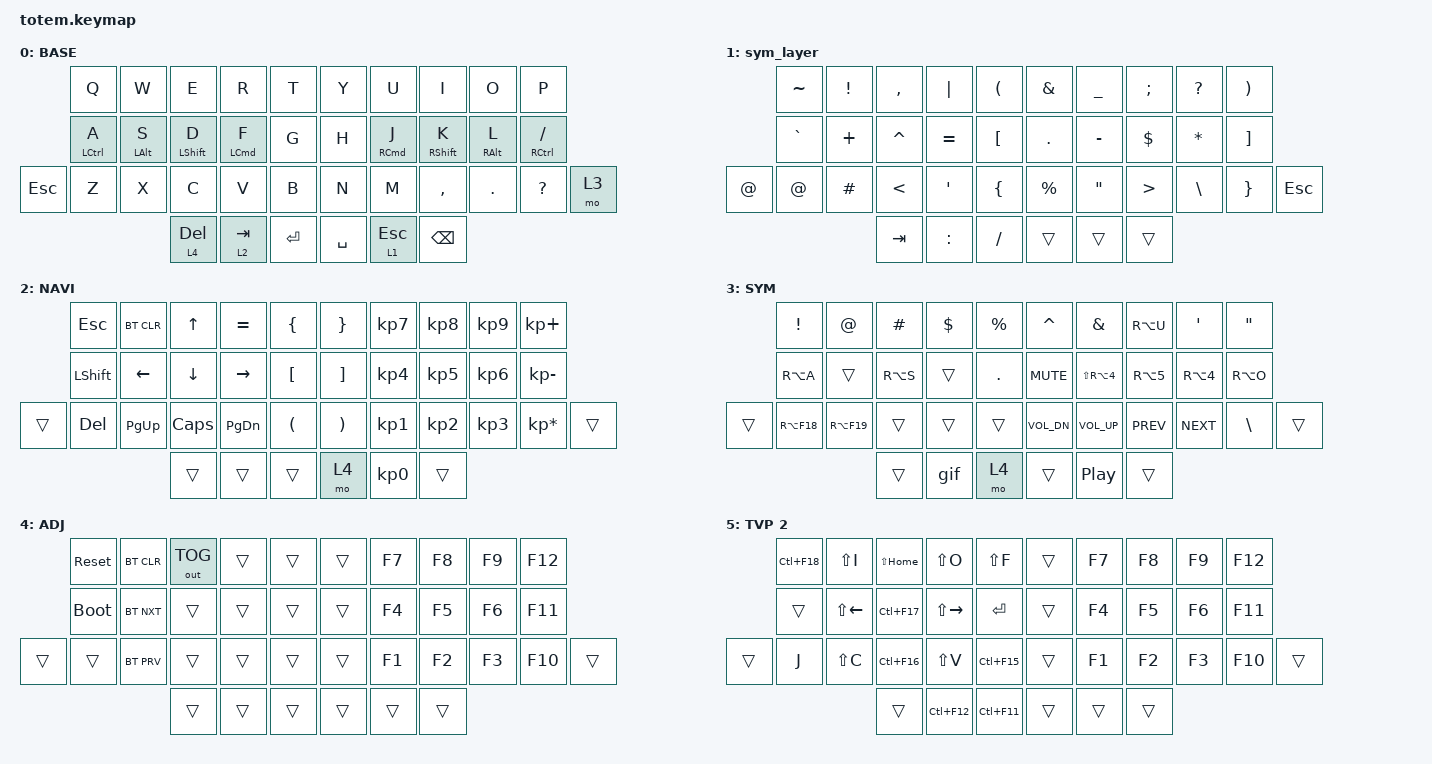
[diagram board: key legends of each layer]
//
//                                                        ▀▀▀▀▀     ▀▀▀▀▀          ▀▀█▀▀
//                                                        ▄▀▀▀▄  ▄  ▄▀▀▀▄  ▄  ▄▀▀▀▄  █  ▄▀▀▀▄
//                                                        █   █  █  █   █  █  █   █  █  █   █
//                                                         ▀▀▀   █   ▀▀▀   █   ▀▀▀   ▀   ▀▀▀
//                                                               █      ▄▄▄█▄▄▄    █   █  
//                                                               ▀      █  █  █     █▄█
//                                                             ▀▀▀▀▀    █  █  █      ▀
//                                                                      ▀  ▀  ▀
//
// ▄▄▄▄▄▄▄▄▄▄▄▄▄▄▄▄▄▄▄▄▄▄▄▄▄▄▄▄▄▄▄▄▄▄▄▄▄▄▄▄▄▄▄▄▄▄▄▄▄▄▄▄▄▄▄▄▄▄▄▄▄▄▄▄▄▄▄▄▄▄▄▄▄▄▄▄▄▄▄▄▄▄▄▄▄▄▄▄▄▄▄▄▄▄▄▄▄▄▄▄▄▄▄▄▄▄▄▄▄▄▄▄▄▄▄▄▄▄▄▄▄▄▄▄▄▄▄▄▄▄▄▄▄▄▄▄▄▄▄▄▄▄▄▄▄▄▄▄▄

#include <behaviors.dtsi>
#include <dt-bindings/zmk/bt.h>
#include <dt-bindings/zmk/keys.h>
#include <dt-bindings/zmk/outputs.h>

#define BASE 0
#define NAV  1
#define SYM  2
#define ADJ  3
#define TVP1 4
#define TVP2 5

&mt {
    quick-tap-ms = <100>;
    global-quick-tap;
    flavor = "tap-preferred";
    tapping-term-ms = <170>;
};

/ {
    combos {
        compatible = "zmk,combos";

        combo_esc {
            timeout-ms = <50>;
            key-positions = <0 1>;
            bindings = <&kp ESC>;
        };

        combo_tvp {
            timeout-ms = <100>;
            key-positions = <11 12 13>;
            bindings = <&tog 0>;
        };
    };

    macros {
        gif: gif {
            label = "giphy";
            compatible = "zmk,behavior-macro";
            #binding-cells = <0>;
            bindings =
                <&macro_press>,
                <&kp LSHFT>,
                <&macro_tap>,
                <&kp N2>,
                <&macro_release>,
                <&kp LSHFT>,
                <&macro_tap>,
                <&kp G &kp I &kp F>;
        };
    };

    keymap {
        compatible = "zmk,keymap";

        // ▄▄▄▄▄▄▄▄▄▄▄▄▄▄▄▄▄▄▄▄▄▄▄▄▄▄▄▄▄▄▄▄▄▄▄▄▄▄▄▄▄▄▄▄▄▄▄▄▄▄▄▄▄▄▄▄▄▄▄▄▄▄▄▄▄▄▄▄▄▄▄▄▄▄▄▄▄▄▄▄▄▄▄▄▄▄▄▄▄▄▄▄▄▄▄▄▄▄▄▄▄▄▄▄▄▄▄▄▄▄▄▄▄▄▄▄▄▄▄▄▄▄▄▄▄▄▄▄▄▄▄▄▄▄▄▄▄▄▄▄▄▄▄▄▄▄▄▄▄

        base_layer {
            // ┏━━━━━━━━━━━━━━━━━━━━━━━━━━━━━━━━━━━━━━━┓

            label = "BASE";

            // ┗━━━━━━━━━━━━━━━━━━━━━━━━━━━━━━━━━━━━━━━┛
            //             ┏━━━━━━━━━━━┳━━━━━━━━━━━┳━━━━━━━━━━━┳━━━━━━━━━━━┳━━━━━━━━━━━┓   ┏━━━━━━━━━━━┳━━━━━━━━━━━┳━━━━━━━━━━━┳━━━━━━━━━━━┳━━━━━━━━━━━┓
            //             ┃     Q     ┃     W     ┃     F     ┃     P     ┃     G     ┃   ┃     J     ┃     L     ┃     U     ┃     Y     ┃     ;     ┃
            //             ┣━━━━━━━━━━━╋━━━━━━━━━━━╋━━━━━━━━━━━╋━━━━━━━━━━━╋━━━━━━━━━━━┫   ┣━━━━━━━━━━━╋━━━━━━━━━━━╋━━━━━━━━━━━╋━━━━━━━━━━━╋━━━━━━━━━━━┫
            //             ┃     A     ┃     R     ┃     S     ┃     T     ┃     D     ┃   ┃     H     ┃     N     ┃     E     ┃     I     ┃     O     ┃
            // ┏━━━━━━━━━━━╋━━━━━━━━━━━╋━━━━━━━━━━━╋━━━━━━━━━━━╋━━━━━━━━━━━╋━━━━━━━━━━━┫   ┣━━━━━━━━━━━╋━━━━━━━━━━━╋━━━━━━━━━━━╋━━━━━━━━━━━╋━━━━━━━━━━━╋━━━━━━━━━━━┓
            // ┃     Q     ┃     Z     ┃     X     ┃     C     ┃     V     ┃     B     ┃   ┃     K     ┃     M     ┃     ,     ┃     .     ┃     /     ┃     \     ┃
            // ┗━━━━━━━━━━━┻━━━━━━━━━━━┻━━━━━━━━━━━╋━━━━━━━━━━━╋━━━━━━━━━━━╋━━━━━━━━━━━┫   ┣━━━━━━━━━━━╋━━━━━━━━━━━╋━━━━━━━━━━━╋━━━━━━━━━━━┻━━━━━━━━━━━┻━━━━━━━━━━━┛
            //                                     ┃    DEL    ┃    TAB    ┃    SPC    ┃   ┃   ENTER   ┃           ┃   BSPC    ┃
            //                                     ┗━━━━━━━━━━━┻━━━━━━━━━━━┻━━━━━━━━━━━┛   ┗━━━━━━━━━━━┻━━━━━━━━━━━┻━━━━━━━━━━━┛

            bindings = <
         &kp Q        &kp W       &kp E             &kp R       &kp T        &kp Y      &kp U       &kp I              &kp O            &kp P
         &mt LCTRL A  &mt LALT S  &mt LEFT_SHIFT D  &mt LCMD F  &kp G        &kp H      &mt RCMD J  &mt RIGHT_SHIFT K  &mt RIGHT_ALT L  &mt RCTRL SLASH
&kp ESC  &kp Z        &kp X       &kp C             &kp V       &kp B        &kp N      &kp M       &kp COMMA          &kp DOT          &kp QUESTION     &mo 3
                                  &lt 4 DELETE      &lt 2 TAB   &kp ENTER    &kp SPACE  &lt 1 ESC   &kp BACKSPACE
            >;
        };

        sym_layer {
            bindings = <
             &kp TILDE    &kp EXCLAMATION  &kp COMMA      &kp PIPE   &kp LEFT_PARENTHESIS    &kp AMPS     &kp UNDERSCORE     &kp SEMICOLON     &kp QUESTION   &kp RIGHT_PARENTHESIS
             &kp GRAVE    &kp PLUS         &kp CARET      &kp EQUAL  &kp LEFT_BRACKET        &kp DOT      &kp MINUS          &kp DOLLAR        &kp ASTERISK   &kp RIGHT_BRACKET
&kp AT_SIGN  &kp AT_SIGN  &kp HASH         &kp LESS_THAN  &kp SQT    &kp LEFT_BRACE          &kp PERCENT  &kp DOUBLE_QUOTES  &kp GREATER_THAN  &kp BACKSLASH  &kp RIGHT_BRACE        &kp ESCAPE
                                           &kp TAB        &kp COLON  &kp SLASH               &trans       &trans             &trans
            >;
        };

        nav_layer {
            // ┏━━━━━━━━━━━━━━━━━━━━━━━━━━━━━━━━━━━━━━━┓

            label = "NAVI";

            // ┗━━━━━━━━━━━━━━━━━━━━━━━━━━━━━━━━━━━━━━━┛
            //             ┏━━━━━━━━━━━┳━━━━━━━━━━━┳━━━━━━━━━━━┳━━━━━━━━━━━┳━━━━━━━━━━━┓   ┏━━━━━━━━━━━┳━━━━━━━━━━━┳━━━━━━━━━━━┳━━━━━━━━━━━┳━━━━━━━━━━━┓
            //             ┃           ┃           ┃     UP    ┃           ┃     {     ┃   ┃     }     ┃     7     ┃     8     ┃     9     ┃     +     ┃
            //             ┣━━━━━━━━━━━╋━━━━━━━━━━━╋━━━━━━━━━━━╋━━━━━━━━━━━╋━━━━━━━━━━━┫   ┣━━━━━━━━━━━╋━━━━━━━━━━━╋━━━━━━━━━━━╋━━━━━━━━━━━╋━━━━━━━━━━━┫
            //             ┃   SHIFT   ┃   LEFT    ┃    DOWN   ┃   RIGHT   ┃     [     ┃   ┃     ]     ┃     4     ┃     5     ┃     6     ┃     -     ┃
            // ┏━━━━━━━━━━━╋━━━━━━━━━━━╋━━━━━━━━━━━╋━━━━━━━━━━━╋━━━━━━━━━━━╋━━━━━━━━━━━┫   ┣━━━━━━━━━━━╋━━━━━━━━━━━╋━━━━━━━━━━━╋━━━━━━━━━━━╋━━━━━━━━━━━╋━━━━━━━━━━━┓
            // ┃           ┃           ┃   P UP    ┃  C LOCK   ┃  P DOWN   ┃     (     ┃   ┃     )     ┃     1     ┃     2     ┃     3     ┃     *     ┃           ┃
            // ┗━━━━━━━━━━━┻━━━━━━━━━━━┻━━━━━━━━━━━╋━━━━━━━━━━━╋━━━━━━━━━━━╋━━━━━━━━━━━┫   ┣━━━━━━━━━━━╋━━━━━━━━━━━╋━━━━━━━━━━━╋━━━━━━━━━━━┻━━━━━━━━━━━┻━━━━━━━━━━━┛
            //                                     ┃           ┃    TAB    ┃    SPC    ┃   ┃    DEL    ┃     0     ┃           ┃
            //                                     ┗━━━━━━━━━━━┻━━━━━━━━━━━┻━━━━━━━━━━━┛   ┗━━━━━━━━━━━┻━━━━━━━━━━━┻━━━━━━━━━━━┛

            bindings = <
        &kp ESC    &bt BT_CLR  &kp UP    &kp EQUAL  &kp LBRC    &kp RBRC  &kp KP_N7  &kp KP_N8  &kp KP_N9  &kp KP_PLUS
        &kp LSHFT  &kp LEFT    &kp DOWN  &kp RIGHT  &kp LBKT    &kp RBKT  &kp KP_N4  &kp KP_N5  &kp KP_N6  &kp KP_MINUS
&trans  &kp DEL    &kp PG_UP   &kp CAPS  &kp PG_DN  &kp LPAR    &kp RPAR  &kp KP_N1  &kp KP_N2  &kp KP_N3  &kp KP_MULTIPLY  &trans
                               &trans    &trans     &trans      &mo 4     &kp KP_N0  &trans
            >;
        };

        fun_layer {
            // ┏━━━━━━━━━━━━━━━━━━━━━━━━━━━━━━━━━━━━━━━┓

            label = "SYM";

            // ┗━━━━━━━━━━━━━━━━━━━━━━━━━━━━━━━━━━━━━━━┛
            //             ┏━━━━━━━━━━━┳━━━━━━━━━━━┳━━━━━━━━━━━┳━━━━━━━━━━━┳━━━━━━━━━━━┓   ┏━━━━━━━━━━━┳━━━━━━━━━━━┳━━━━━━━━━━━┳━━━━━━━━━━━┳━━━━━━━━━━━┓
            //             ┃     !     ┃     @     ┃     #     ┃     $     ┃     %     ┃   ┃     ˆ     ┃     &     ┃     Ü     ┃     '     ┃     "     ┃
            //             ┣━━━━━━━━━━━╋━━━━━━━━━━━╋━━━━━━━━━━━╋━━━━━━━━━━━╋━━━━━━━━━━━┫   ┣━━━━━━━━━━━╋━━━━━━━━━━━╋━━━━━━━━━━━╋━━━━━━━━━━━╋━━━━━━━━━━━┫
            //             ┃     Ä     ┃           ┃    SZ     ┃           ┃           ┃   ┃   MUTE    ┃   YEN     ┃   EURO    ┃  POUND    ┃     Ö     ┃
            // ┏━━━━━━━━━━━╋━━━━━━━━━━━╋━━━━━━━━━━━╋━━━━━━━━━━━╋━━━━━━━━━━━╋━━━━━━━━━━━┫   ┣━━━━━━━━━━━╋━━━━━━━━━━━╋━━━━━━━━━━━╋━━━━━━━━━━━╋━━━━━━━━━━━╋━━━━━━━━━━━┓
            // ┃           ┃  EMAIL1   ┃  EMAIL2   ┃           ┃           ┃           ┃   ┃   VOL-    ┃   VOL+    ┃   LAST    ┃   NEXT    ┃     \     ┃           ┃
            // ┗━━━━━━━━━━━┻━━━━━━━━━━━┻━━━━━━━━━━━╋━━━━━━━━━━━╋━━━━━━━━━━━╋━━━━━━━━━━━┫   ┣━━━━━━━━━━━╋━━━━━━━━━━━╋━━━━━━━━━━━╋━━━━━━━━━━━┻━━━━━━━━━━━┻━━━━━━━━━━━┛
            //                                     ┃           ┃    GIF    ┃    ADJ    ┃   ┃           ┃           ┃           ┃
            //                                     ┗━━━━━━━━━━━┻━━━━━━━━━━━┻━━━━━━━━━━━┛   ┗━━━━━━━━━━━┻━━━━━━━━━━━┻━━━━━━━━━━━┛

            bindings = <
        &kp EXCL     &kp AT       &kp HASH   &kp DLLR  &kp PRCNT     &kp CARET     &kp AMPS        &kp RA(U)   &kp SQT     &kp DQT
        &kp RA(A)    &trans       &kp RA(S)  &trans    &kp PERIOD    &kp C_MUTE    &kp LS(RA(N4))  &kp RA(N5)  &kp RA(N4)  &kp RA(O)
&trans  &kp RA(F18)  &kp RA(F19)  &trans     &trans    &trans        &kp C_VOL_DN  &kp C_VOL_UP    &kp C_PREV  &kp C_NEXT  &kp BSLH   &trans
                                  &trans     &gif      &mo 4         &trans        &kp C_PP        &trans
            >;
        };

        adjust_layer {
            // ┏━━━━━━━━━━━━━━━━━━━━━━━━━━━━━━━━━━━━━━━┓

            label = "ADJ";

            // ┗━━━━━━━━━━━━━━━━━━━━━━━━━━━━━━━━━━━━━━━┛
            //             ┏━━━━━━━━━━━┳━━━━━━━━━━━┳━━━━━━━━━━━┳━━━━━━━━━━━┳━━━━━━━━━━━┓   ┏━━━━━━━━━━━┳━━━━━━━━━━━┳━━━━━━━━━━━┳━━━━━━━━━━━┳━━━━━━━━━━━┓
            //             ┃   RESET   ┃ BT CLEAR  ┃  OUT TOG  ┃           ┃           ┃   ┃           ┃    F7     ┃    F8     ┃    F9     ┃    F12    ┃
            //             ┣━━━━━━━━━━━╋━━━━━━━━━━━╋━━━━━━━━━━━╋━━━━━━━━━━━╋━━━━━━━━━━━┫   ┣━━━━━━━━━━━╋━━━━━━━━━━━╋━━━━━━━━━━━╋━━━━━━━━━━━╋━━━━━━━━━━━┫
            //             ┃ BOOTLOAD  ┃ BT NEXT   ┃           ┃           ┃           ┃   ┃           ┃    F4     ┃    F5     ┃    F6     ┃    F11    ┃
            // ┏━━━━━━━━━━━╋━━━━━━━━━━━╋━━━━━━━━━━━╋━━━━━━━━━━━╋━━━━━━━━━━━╋━━━━━━━━━━━┫   ┣━━━━━━━━━━━╋━━━━━━━━━━━╋━━━━━━━━━━━╋━━━━━━━━━━━╋━━━━━━━━━━━╋━━━━━━━━━━━┓
            // ┃           ┃           ┃ BT PREV   ┃           ┃           ┃           ┃   ┃           ┃    F1     ┃    F2     ┃    F3     ┃    F10    ┃           ┃
            // ┗━━━━━━━━━━━┻━━━━━━━━━━━┻━━━━━━━━━━━╋━━━━━━━━━━━╋━━━━━━━━━━━╋━━━━━━━━━━━┫   ┣━━━━━━━━━━━╋━━━━━━━━━━━╋━━━━━━━━━━━╋━━━━━━━━━━━┻━━━━━━━━━━━┻━━━━━━━━━━━┛
            //                                     ┃           ┃           ┃           ┃   ┃           ┃           ┃           ┃
            //                                     ┗━━━━━━━━━━━┻━━━━━━━━━━━┻━━━━━━━━━━━┛   ┗━━━━━━━━━━━┻━━━━━━━━━━━┻━━━━━━━━━━━┛

            bindings = <
        &sys_reset   &bt BT_CLR  &out OUT_TOG  &trans  &trans    &trans  &kp F7  &kp F8  &kp F9  &kp F12
        &bootloader  &bt BT_NXT  &trans        &trans  &trans    &trans  &kp F4  &kp F5  &kp F6  &kp F11
&trans  &trans       &bt BT_PRV  &trans        &trans  &trans    &trans  &kp F1  &kp F2  &kp F3  &kp F10  &trans
                                 &trans        &trans  &trans    &trans  &trans  &trans
            >;
        };

        tvp2_layer {
            // ┏━━━━━━━━━━━━━━━━━━━━━━━━━━━━━━━━━━━━━━━┓

            label = "TVP 2";

            // ┗━━━━━━━━━━━━━━━━━━━━━━━━━━━━━━━━━━━━━━━┛
            //             ┏━━━━━━━━━━━┳━━━━━━━━━━━┳━━━━━━━━━━━┳━━━━━━━━━━━┳━━━━━━━━━━━┓   ┏━━━━━━━━━━━┳━━━━━━━━━━━┳━━━━━━━━━━━┳━━━━━━━━━━━┳━━━━━━━━━━━┓
            //             ┃ SOLO      ┃ TOGGLE IN ┃ RESET ROT ┃ TOGGLE OUT┃ TAKE SNAP ┃   ┃           ┃           ┃           ┃           ┃           ┃
            //             ┣━━━━━━━━━━━╋━━━━━━━━━━━╋━━━━━━━━━━━╋━━━━━━━━━━━╋━━━━━━━━━━━┫   ┣━━━━━━━━━━━╋━━━━━━━━━━━╋━━━━━━━━━━━╋━━━━━━━━━━━╋━━━━━━━━━━━┫
            //             ┃ ---       ┃ LAST KEY  ┃ NEW KEY   ┃ NEXT KEY  ┃ ENTER     ┃   ┃           ┃           ┃           ┃           ┃           ┃
            // ┏━━━━━━━━━━━╋━━━━━━━━━━━╋━━━━━━━━━━━╋━━━━━━━━━━━╋━━━━━━━━━━━╋━━━━━━━━━━━┫   ┣━━━━━━━━━━━╋━━━━━━━━━━━╋━━━━━━━━━━━╋━━━━━━━━━━━╋━━━━━━━━━━━╋━━━━━━━━━━━┓
            // ┃           ┃ FULLSCR   ┃ CPY2BRUSH ┃ DEL HEAD  ┃ PSTinPLACE┃ BOOK MARK ┃   ┃           ┃           ┃           ┃           ┃           ┃           ┃
            // ┗━━━━━━━━━━━┻━━━━━━━━━━━┻━━━━━━━━━━━╋━━━━━━━━━━━╋━━━━━━━━━━━╋━━━━━━━━━━━┫   ┣━━━━━━━━━━━╋━━━━━━━━━━━╋━━━━━━━━━━━╋━━━━━━━━━━━┻━━━━━━━━━━━┻━━━━━━━━━━━┛
            //                                     ┃           ┃ REDO/SAV1 ┃TRANS/WARP ┃   ┃           ┃           ┃           ┃
            //                                     ┗━━━━━━━━━━━┻━━━━━━━━━━━┻━━━━━━━━━━━┛   ┗━━━━━━━━━━━┻━━━━━━━━━━━┻━━━━━━━━━━━┛

            bindings = <
        &kp LC(F18)  &kp LS(I)     &kp LS(HOME)  &kp LS(O)      &kp LS(F)      &trans  &kp F7  &kp F8  &kp F9  &kp F12
        &trans       &kp LS(LEFT)  &kp LC(F17)   &kp LS(RIGHT)  &kp RET        &trans  &kp F4  &kp F5  &kp F6  &kp F11
&trans  &kp J        &kp LS(C)     &kp LC(F16)   &kp LS(V)      &kp LC(F15)    &trans  &kp F1  &kp F2  &kp F3  &kp F10  &trans
                                   &trans        &kp LC(F12)    &kp LC(F11)    &trans  &trans  &trans
            >;
        };
    };
};
